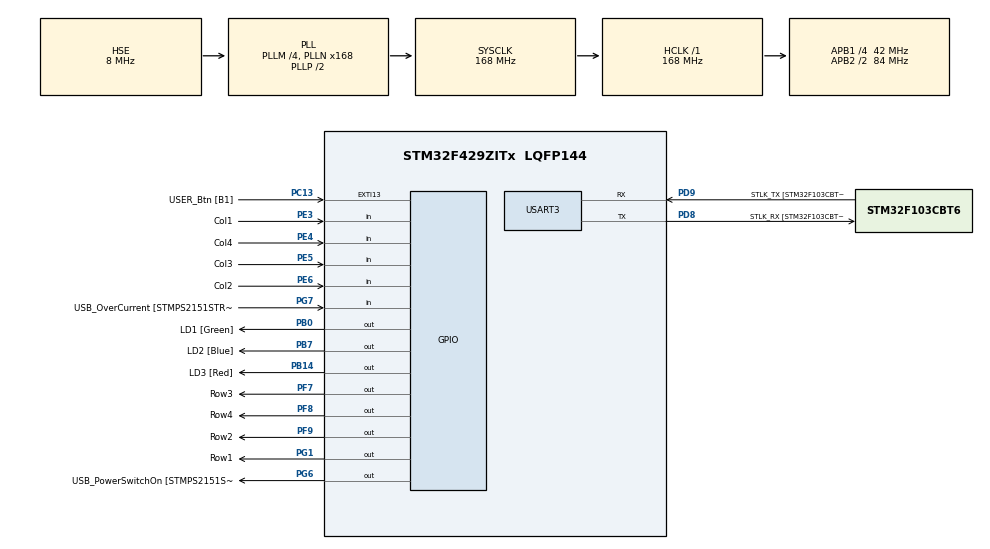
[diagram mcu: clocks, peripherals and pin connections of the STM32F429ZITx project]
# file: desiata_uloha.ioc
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Mcu.Family=STM32F4
Mcu.Name=STM32F429ZITx
Mcu.Package=LQFP144
NVIC.PriorityGroup=NVIC_PRIORITYGROUP_4
NVIC.TIM3_IRQn=true\:0\:0\:false\:false\:true\:true\:true\:true
PA1.GPIO_Label=RMII_REF_CLK [LAN8742A-CZ-TR_REFCLK0]
PA1.Signal=ETH_REF_CLK
PA10.GPIO_Label=USB_ID
PA10.Signal=USB_OTG_FS_ID
PA11.GPIO_Label=USB_DM
PA11.Signal=USB_OTG_FS_DM
PA12.GPIO_Label=USB_DP
PA12.Signal=USB_OTG_FS_DP
PA13.GPIO_Label=TMS
PA13.Mode=Serial_Wire
PA13.Signal=SYS_JTMS-SWDIO
PA14.GPIO_Label=TCK
PA14.Mode=Serial_Wire
PA14.Signal=SYS_JTCK-SWCLK
PA2.GPIO_Label=RMII_MDIO [LAN8742A-CZ-TR_MDIO]
PA2.Signal=ETH_MDIO
PA7.GPIO_Label=RMII_CRS_DV [LAN8742A-CZ-TR_CRS_DV]
PA7.Signal=ETH_CRS_DV
PA8.GPIO_Label=USB_SOF [TP1]
PA8.Signal=USB_OTG_FS_SOF
PA9.GPIO_Label=USB_VBUS
PA9.Signal=USB_OTG_FS_VBUS
PB0.GPIO_Label=LD1 [Green]
PB0.Signal=GPIO_Output
PB13.GPIO_Label=RMII_TXD1 [LAN8742A-CZ-TR_TXD1]
PB13.Signal=ETH_TXD1
PB14.GPIO_Label=LD3 [Red]
PB14.Signal=GPIO_Output
PB7.GPIO_Label=LD2 [Blue]
PB7.Signal=GPIO_Output
PC1.GPIO_Label=RMII_MDC [LAN8742A-CZ-TR_MDC]
PC1.Signal=ETH_MDC
PC13.GPIO_Label=USER_Btn [B1]
PC13.Signal=GPXTI13
PC14/OSC32_IN.Mode=LSE-External-Oscillator
PC14/OSC32_IN.Signal=RCC_OSC32_IN
PC15/OSC32_OUT.Mode=LSE-External-Oscillator
PC15/OSC32_OUT.Signal=RCC_OSC32_OUT
PC4.GPIO_Label=RMII_RXD0 [LAN8742A-CZ-TR_RXD0]
PC4.Signal=ETH_RXD0
PC5.GPIO_Label=RMII_RXD1 [LAN8742A-CZ-TR_RXD1]
PC5.Signal=ETH_RXD1
PD8.GPIO_Label=STLK_RX [STM32F103CBT6_PA3]
PD8.Mode=Asynchronous
PD8.Signal=USART3_TX
PD9.GPIO_Label=STLK_TX [STM32F103CBT6_PA2]
PD9.Mode=Asynchronous
PD9.Signal=USART3_RX
PE3.GPIO_Label=Col1
PE3.GPIO_PuPd=GPIO_PULLUP
PE3.Signal=GPIO_Input
PE4.GPIO_Label=Col4
PE4.GPIO_PuPd=GPIO_PULLUP
PE4.Signal=GPIO_Input
PE5.GPIO_Label=Col3
PE5.GPIO_PuPd=GPIO_PULLUP
PE5.Signal=GPIO_Input
PE6.GPIO_Label=Col2
PE6.GPIO_PuPd=GPIO_PULLUP
PE6.Signal=GPIO_Input
PF7.GPIO_Label=Row3
PF7.GPIO_ModeDefaultOutputPP=GPIO_MODE_OUTPUT_OD
PF7.GPIO_PuPd=GPIO_NOPULL
PF7.Signal=GPIO_Output
PF8.GPIO_Label=Row4
PF8.GPIO_ModeDefaultOutputPP=GPIO_MODE_OUTPUT_OD
PF8.GPIO_PuPd=GPIO_NOPULL
PF8.Signal=GPIO_Output
PF9.GPIO_Label=Row2
PF9.GPIO_ModeDefaultOutputPP=GPIO_MODE_OUTPUT_OD
PF9.GPIO_PuPd=GPIO_NOPULL
PF9.Signal=GPIO_Output
PG1.GPIO_Label=Row1
PG1.GPIO_ModeDefaultOutputPP=GPIO_MODE_OUTPUT_OD
PG1.GPIO_PuPd=GPIO_NOPULL
PG1.Signal=GPIO_Output
PG11.GPIO_Label=RMII_TX_EN [LAN8742A-CZ-TR_TXEN]
PG11.Signal=ETH_TX_EN
PG13.GPIO_Label=RMII_TXD0 [LAN8742A-CZ-TR_TXD0]
PG13.Signal=ETH_TXD0
PG6.GPIO_Label=USB_PowerSwitchOn [STMPS2151STR_EN]
PG6.Signal=GPIO_Output
PG7.GPIO_Label=USB_OverCurrent [STMPS2151STR_FAULT]
PG7.Signal=GPIO_Input
PH0/OSC_IN.GPIO_Label=MCO [STM32F103CBT6_PA8]
PH0/OSC_IN.Mode=HSE-External-Clock-Source
PH0/OSC_IN.Signal=RCC_OSC_IN
PH1/OSC_OUT.Mode=HSE-External-Clock-Source
PH1/OSC_OUT.Signal=RCC_OSC_OUT
ProjectManager.HeapSize=0x200
ProjectManager.StackSize=0x400
ProjectManager.TargetToolchain=STM32CubeIDE
RCC.48MHZClocksFreq_Value=48000000
RCC.AHBFreq_Value=168000000
RCC.APB1CLKDivider=RCC_HCLK_DIV4
RCC.APB1Freq_Value=42000000
RCC.APB1TimFreq_Value=84000000
RCC.APB2CLKDivider=RCC_HCLK_DIV2
RCC.APB2Freq_Value=84000000
RCC.APB2TimCLKDivider=2
RCC.APB2TimFreq_Value=168000000
RCC.CortexFreq_Value=168000000
RCC.HCLKFreq_Value=168000000
RCC.HSE_VALUE=8000000
RCC.HSI_VALUE=16000000
RCC.PLLM=4
RCC.PLLMUL=RCC_PLL_MUL9
RCC.PLLN=168
RCC.PLLQ=7
RCC.PLLSourceVirtual=RCC_PLLSOURCE_HSE
RCC.PRESCALERUSB=RCC_USBCLKSOURCE_PLL_DIV1_5
RCC.SYSCLKFreq_VALUE=168000000
RCC.SYSCLKSource=RCC_SYSCLKSOURCE_PLLCLK
RCC.SYSCLKSourceVirtual=RCC_SYSCLKSOURCE_PLLCLK
RCC.USBFreq_Value=48000000
RCC.VCOOutputFreq_Value=336000000
TIM3.AutoReloadPreload=TIM_AUTORELOAD_PRELOAD_ENABLE
TIM3.Period=99
TIM3.Prescaler=8399
USART3.VirtualMode=VM_ASYNC
VP_TIM3_VS_ClockSourceINT.Mode=Internal
board=NUCLEO-F429ZI

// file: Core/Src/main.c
/* USER CODE BEGIN Header */
/**
  ******************************************************************************
  * @file           : main.c
  * @brief          : Main program body
  ******************************************************************************
  * @attention
  *
  * Copyright (c) 2023 STMicroelectronics.
  * All rights reserved.
  *
  * This software is licensed under terms that can be found in the LICENSE file
  * in the root directory of this software component.
  * If no LICENSE file comes with this software, it is provided AS-IS.
  *
  ******************************************************************************
  */
/* USER CODE END Header */
#include "main.h"

/* USER CODE BEGIN Includes */
#include <stdio.h>
/* USER CODE END Includes */

/* USER CODE BEGIN PD */
#define TIMEOUT 5000
/* USER CODE END PD */

TIM_HandleTypeDef htim3;

UART_HandleTypeDef huart3;

/* USER CODE BEGIN PV */
static int8_t key=-1;
/* USER CODE END PV */

void SystemClock_Config(void);
static void MX_GPIO_Init(void);
static void MX_USART3_UART_Init(void);
static void MX_TIM3_Init(void);

/* USER CODE BEGIN 0 */
int __io_putchar(int ch) {
	ITM_SendChar(ch);
	return 0;
}
/* USER CODE END 0 */

int main(void)
{

  /* MCU Configuration--------------------------------------------------------*/

  /* Reset of all peripherals, Initializes the Flash interface and the Systick. */
  HAL_Init();

  /* Configure the system clock */
  SystemClock_Config();

  /* Initialize all configured peripherals */
  MX_GPIO_Init();
  MX_USART3_UART_Init();
  MX_TIM3_Init();
  /* USER CODE BEGIN 2 */
  HAL_TIM_Base_Start_IT(&htim3);
  printf("Start\r\n");

  int8_t passcode[] = {7, 9, 3, 2, 12};
  uint8_t c_index = 0;
  /* USER CODE END 2 */

  /* Infinite loop */
  /* USER CODE BEGIN WHILE */
  uint32_t timer_start = 0;
  while (1)
  {
    /* USER CODE END WHILE */

    /* USER CODE BEGIN 3 */
	  // check if timer is nout out
		if (((HAL_GetTick() - timer_start) > TIMEOUT) && (c_index != 0)) {
			printf("Timed Out \n");
			c_index = 0;
		}

	  if (key!=-1){
		  printf("Pressed key no %d \n", key);
		  if (key == passcode[c_index]){
			   // if first character was guessed start timer
			  if (c_index == 0)
			  {
				  timer_start = HAL_GetTick();
			  }

			  c_index++;

			  if (c_index>4){
				  printf("Correct \n");
				  HAL_GPIO_WritePin(LD1_GPIO_Port, LD1_Pin, GPIO_PIN_SET);
				  HAL_GPIO_WritePin(LD2_GPIO_Port, LD2_Pin, GPIO_PIN_SET);
				  HAL_GPIO_WritePin(LD3_GPIO_Port, LD3_Pin, GPIO_PIN_SET);
				  c_index = 0;
			  }
		  }else{
			  printf("Wrong \n");
			  HAL_GPIO_WritePin(LD1_GPIO_Port, LD1_Pin, GPIO_PIN_RESET);
			  HAL_GPIO_WritePin(LD2_GPIO_Port, LD2_Pin, GPIO_PIN_RESET);
			  HAL_GPIO_WritePin(LD3_GPIO_Port, LD3_Pin, GPIO_PIN_RESET);
			  c_index = 0;
		  }
		  key = -1;
	  }
	  HAL_Delay(50);
  }
  /* USER CODE END 3 */
}

void SystemClock_Config(void)
{
  RCC_OscInitTypeDef RCC_OscInitStruct = {0};
  RCC_ClkInitTypeDef RCC_ClkInitStruct = {0};

  /** Configure the main internal regulator output voltage
  */
  __HAL_RCC_PWR_CLK_ENABLE();
  __HAL_PWR_VOLTAGESCALING_CONFIG(PWR_REGULATOR_VOLTAGE_SCALE1);

  /** Initializes the RCC Oscillators according to the specified parameters
  * in the RCC_OscInitTypeDef structure.
  */
  RCC_OscInitStruct.OscillatorType = RCC_OSCILLATORTYPE_HSE;
  RCC_OscInitStruct.HSEState = RCC_HSE_BYPASS;
  RCC_OscInitStruct.PLL.PLLState = RCC_PLL_ON;
  RCC_OscInitStruct.PLL.PLLSource = RCC_PLLSOURCE_HSE;
  RCC_OscInitStruct.PLL.PLLM = 4;
  RCC_OscInitStruct.PLL.PLLN = 168;
  RCC_OscInitStruct.PLL.PLLP = RCC_PLLP_DIV2;
  RCC_OscInitStruct.PLL.PLLQ = 7;
  if (HAL_RCC_OscConfig(&RCC_OscInitStruct) != HAL_OK)
  {
    Error_Handler();
  }

  /** Initializes the CPU, AHB and APB buses clocks
  */
  RCC_ClkInitStruct.ClockType = RCC_CLOCKTYPE_HCLK|RCC_CLOCKTYPE_SYSCLK
                              |RCC_CLOCKTYPE_PCLK1|RCC_CLOCKTYPE_PCLK2;
  RCC_ClkInitStruct.SYSCLKSource = RCC_SYSCLKSOURCE_PLLCLK;
  RCC_ClkInitStruct.AHBCLKDivider = RCC_SYSCLK_DIV1;
  RCC_ClkInitStruct.APB1CLKDivider = RCC_HCLK_DIV4;
  RCC_ClkInitStruct.APB2CLKDivider = RCC_HCLK_DIV2;

  if (HAL_RCC_ClockConfig(&RCC_ClkInitStruct, FLASH_LATENCY_5) != HAL_OK)
  {
    Error_Handler();
  }
}

static void MX_TIM3_Init(void)
{

  TIM_ClockConfigTypeDef sClockSourceConfig = {0};
  TIM_MasterConfigTypeDef sMasterConfig = {0};

  htim3.Instance = TIM3;
  htim3.Init.Prescaler = 8399;
  htim3.Init.CounterMode = TIM_COUNTERMODE_UP;
  htim3.Init.Period = 99;
  htim3.Init.ClockDivision = TIM_CLOCKDIVISION_DIV1;
  htim3.Init.AutoReloadPreload = TIM_AUTORELOAD_PRELOAD_ENABLE;
  if (HAL_TIM_Base_Init(&htim3) != HAL_OK)
  {
    Error_Handler();
  }
  sClockSourceConfig.ClockSource = TIM_CLOCKSOURCE_INTERNAL;
  if (HAL_TIM_ConfigClockSource(&htim3, &sClockSourceConfig) != HAL_OK)
  {
    Error_Handler();
  }
  sMasterConfig.MasterOutputTrigger = TIM_TRGO_RESET;
  sMasterConfig.MasterSlaveMode = TIM_MASTERSLAVEMODE_DISABLE;
  if (HAL_TIMEx_MasterConfigSynchronization(&htim3, &sMasterConfig) != HAL_OK)
  {
    Error_Handler();
  }

}

static void MX_USART3_UART_Init(void)
{

  huart3.Instance = USART3;
  huart3.Init.BaudRate = 115200;
  huart3.Init.WordLength = UART_WORDLENGTH_8B;
  huart3.Init.StopBits = UART_STOPBITS_1;
  huart3.Init.Parity = UART_PARITY_NONE;
  huart3.Init.Mode = UART_MODE_TX_RX;
  huart3.Init.HwFlowCtl = UART_HWCONTROL_NONE;
  huart3.Init.OverSampling = UART_OVERSAMPLING_16;
  if (HAL_UART_Init(&huart3) != HAL_OK)
  {
    Error_Handler();
  }

}

static void MX_GPIO_Init(void)
{
  GPIO_InitTypeDef GPIO_InitStruct = {0};

  /* GPIO Ports Clock Enable */
  __HAL_RCC_GPIOE_CLK_ENABLE();
  __HAL_RCC_GPIOC_CLK_ENABLE();
  __HAL_RCC_GPIOF_CLK_ENABLE();
  __HAL_RCC_GPIOH_CLK_ENABLE();
  __HAL_RCC_GPIOA_CLK_ENABLE();
  __HAL_RCC_GPIOB_CLK_ENABLE();
  __HAL_RCC_GPIOG_CLK_ENABLE();
  __HAL_RCC_GPIOD_CLK_ENABLE();

  /*Configure GPIO pin Output Level */
  HAL_GPIO_WritePin(GPIOF, Row3_Pin|Row4_Pin|Row2_Pin, GPIO_PIN_RESET);

  /*Configure GPIO pin Output Level */
  HAL_GPIO_WritePin(GPIOB, LD1_Pin|LD3_Pin|LD2_Pin, GPIO_PIN_RESET);

  /*Configure GPIO pin Output Level */
  HAL_GPIO_WritePin(GPIOG, Row1_Pin|USB_PowerSwitchOn_Pin, GPIO_PIN_RESET);

  /*Configure GPIO pins : Col1_Pin Col4_Pin Col3_Pin Col2_Pin */
  GPIO_InitStruct.Pin = Col1_Pin|Col4_Pin|Col3_Pin|Col2_Pin;
  GPIO_InitStruct.Mode = GPIO_MODE_INPUT;
  GPIO_InitStruct.Pull = GPIO_PULLUP;
  HAL_GPIO_Init(GPIOE, &GPIO_InitStruct);

  /*Configure GPIO pin : USER_Btn_Pin */
  GPIO_InitStruct.Pin = USER_Btn_Pin;
  GPIO_InitStruct.Mode = GPIO_MODE_IT_RISING;
  GPIO_InitStruct.Pull = GPIO_NOPULL;
  HAL_GPIO_Init(USER_Btn_GPIO_Port, &GPIO_InitStruct);

  /*Configure GPIO pins : Row3_Pin Row4_Pin Row2_Pin */
  GPIO_InitStruct.Pin = Row3_Pin|Row4_Pin|Row2_Pin;
  GPIO_InitStruct.Mode = GPIO_MODE_OUTPUT_OD;
  GPIO_InitStruct.Pull = GPIO_NOPULL;
  GPIO_InitStruct.Speed = GPIO_SPEED_FREQ_LOW;
  HAL_GPIO_Init(GPIOF, &GPIO_InitStruct);

  /*Configure GPIO pins : RMII_MDC_Pin RMII_RXD0_Pin RMII_RXD1_Pin */
  GPIO_InitStruct.Pin = RMII_MDC_Pin|RMII_RXD0_Pin|RMII_RXD1_Pin;
  GPIO_InitStruct.Mode = GPIO_MODE_AF_PP;
  GPIO_InitStruct.Pull = GPIO_NOPULL;
  GPIO_InitStruct.Speed = GPIO_SPEED_FREQ_VERY_HIGH;
  GPIO_InitStruct.Alternate = GPIO_AF11_ETH;
  HAL_GPIO_Init(GPIOC, &GPIO_InitStruct);

  /*Configure GPIO pins : RMII_REF_CLK_Pin RMII_MDIO_Pin RMII_CRS_DV_Pin */
  GPIO_InitStruct.Pin = RMII_REF_CLK_Pin|RMII_MDIO_Pin|RMII_CRS_DV_Pin;
  GPIO_InitStruct.Mode = GPIO_MODE_AF_PP;
  GPIO_InitStruct.Pull = GPIO_NOPULL;
  GPIO_InitStruct.Speed = GPIO_SPEED_FREQ_VERY_HIGH;
  GPIO_InitStruct.Alternate = GPIO_AF11_ETH;
  HAL_GPIO_Init(GPIOA, &GPIO_InitStruct);

  /*Configure GPIO pins : LD1_Pin LD3_Pin LD2_Pin */
  GPIO_InitStruct.Pin = LD1_Pin|LD3_Pin|LD2_Pin;
  GPIO_InitStruct.Mode = GPIO_MODE_OUTPUT_PP;
  GPIO_InitStruct.Pull = GPIO_NOPULL;
  GPIO_InitStruct.Speed = GPIO_SPEED_FREQ_LOW;
  HAL_GPIO_Init(GPIOB, &GPIO_InitStruct);

  /*Configure GPIO pin : Row1_Pin */
  GPIO_InitStruct.Pin = Row1_Pin;
  GPIO_InitStruct.Mode = GPIO_MODE_OUTPUT_OD;
  GPIO_InitStruct.Pull = GPIO_NOPULL;
  GPIO_InitStruct.Speed = GPIO_SPEED_FREQ_LOW;
  HAL_GPIO_Init(Row1_GPIO_Port, &GPIO_InitStruct);

  /*Configure GPIO pin : RMII_TXD1_Pin */
  GPIO_InitStruct.Pin = RMII_TXD1_Pin;
  GPIO_InitStruct.Mode = GPIO_MODE_AF_PP;
  GPIO_InitStruct.Pull = GPIO_NOPULL;
  GPIO_InitStruct.Speed = GPIO_SPEED_FREQ_VERY_HIGH;
  GPIO_InitStruct.Alternate = GPIO_AF11_ETH;
  HAL_GPIO_Init(RMII_TXD1_GPIO_Port, &GPIO_InitStruct);

  /*Configure GPIO pin : USB_PowerSwitchOn_Pin */
  GPIO_InitStruct.Pin = USB_PowerSwitchOn_Pin;
  GPIO_InitStruct.Mode = GPIO_MODE_OUTPUT_PP;
  GPIO_InitStruct.Pull = GPIO_NOPULL;
  GPIO_InitStruct.Speed = GPIO_SPEED_FREQ_LOW;
  HAL_GPIO_Init(USB_PowerSwitchOn_GPIO_Port, &GPIO_InitStruct);

  /*Configure GPIO pin : USB_OverCurrent_Pin */
  GPIO_InitStruct.Pin = USB_OverCurrent_Pin;
  GPIO_InitStruct.Mode = GPIO_MODE_INPUT;
  GPIO_InitStruct.Pull = GPIO_NOPULL;
  HAL_GPIO_Init(USB_OverCurrent_GPIO_Port, &GPIO_InitStruct);

  /*Configure GPIO pins : USB_SOF_Pin USB_ID_Pin USB_DM_Pin USB_DP_Pin */
  GPIO_InitStruct.Pin = USB_SOF_Pin|USB_ID_Pin|USB_DM_Pin|USB_DP_Pin;
  GPIO_InitStruct.Mode = GPIO_MODE_AF_PP;
  GPIO_InitStruct.Pull = GPIO_NOPULL;
  GPIO_InitStruct.Speed = GPIO_SPEED_FREQ_VERY_HIGH;
  GPIO_InitStruct.Alternate = GPIO_AF10_OTG_FS;
  HAL_GPIO_Init(GPIOA, &GPIO_InitStruct);

  /*Configure GPIO pin : USB_VBUS_Pin */
  GPIO_InitStruct.Pin = USB_VBUS_Pin;
  GPIO_InitStruct.Mode = GPIO_MODE_INPUT;
  GPIO_InitStruct.Pull = GPIO_NOPULL;
  HAL_GPIO_Init(USB_VBUS_GPIO_Port, &GPIO_InitStruct);

  /*Configure GPIO pins : RMII_TX_EN_Pin RMII_TXD0_Pin */
  GPIO_InitStruct.Pin = RMII_TX_EN_Pin|RMII_TXD0_Pin;
  GPIO_InitStruct.Mode = GPIO_MODE_AF_PP;
  GPIO_InitStruct.Pull = GPIO_NOPULL;
  GPIO_InitStruct.Speed = GPIO_SPEED_FREQ_VERY_HIGH;
  GPIO_InitStruct.Alternate = GPIO_AF11_ETH;
  HAL_GPIO_Init(GPIOG, &GPIO_InitStruct);

}

/* USER CODE BEGIN 4 */
void HAL_TIM_PeriodElapsedCallback(TIM_HandleTypeDef *htim)
{
 static int row = 0;
 static int internal_key = -1;
 static int internal_counter = 0;
 static int counting_state = 0;
 static int internal_pressed = 0;
 static const int keyboard[4][4] = {
					 { 1, 2, 3, 21 },
					 { 4, 5, 6, 22 },
					 { 7, 8, 9, 23 },
					 { 11, 0, 12, 24 },
					 };

	 if (counting_state == 1)
	 {
	 	if (HAL_GPIO_ReadPin(Col1_GPIO_Port, Col1_Pin) == GPIO_PIN_RESET) internal_pressed = 1;
	 	if (HAL_GPIO_ReadPin(Col2_GPIO_Port, Col2_Pin) == GPIO_PIN_RESET) internal_pressed = 1;
	    if (HAL_GPIO_ReadPin(Col3_GPIO_Port, Col3_Pin) == GPIO_PIN_RESET) internal_pressed = 1;
	 	if (HAL_GPIO_ReadPin(Col4_GPIO_Port, Col4_Pin) == GPIO_PIN_RESET) internal_pressed = 1;
	 }
 	 if (internal_key == -1 && counting_state == 0){
 		if (HAL_GPIO_ReadPin(Col1_GPIO_Port, Col1_Pin) == GPIO_PIN_RESET) internal_key = keyboard[row][0];
 		if (HAL_GPIO_ReadPin(Col2_GPIO_Port, Col2_Pin) == GPIO_PIN_RESET) internal_key = keyboard[row][1];
 		if (HAL_GPIO_ReadPin(Col3_GPIO_Port, Col3_Pin) == GPIO_PIN_RESET) internal_key = keyboard[row][2];
 		if (HAL_GPIO_ReadPin(Col4_GPIO_Port, Col4_Pin) == GPIO_PIN_RESET) internal_key = keyboard[row][3];

 		//start counting
 		counting_state = 1;
 		internal_pressed = 0;
 	 }

	HAL_GPIO_WritePin(Row1_GPIO_Port, Row1_Pin, GPIO_PIN_SET);
	HAL_GPIO_WritePin(Row2_GPIO_Port, Row2_Pin, GPIO_PIN_SET);
	HAL_GPIO_WritePin(Row3_GPIO_Port, Row3_Pin, GPIO_PIN_SET);
	HAL_GPIO_WritePin(Row4_GPIO_Port, Row4_Pin, GPIO_PIN_SET);
	switch (row) {
		case 0:
			row = 1;
			HAL_GPIO_WritePin(Row2_GPIO_Port, Row2_Pin, GPIO_PIN_RESET);
			break;
		case 1:
			row = 2;
			HAL_GPIO_WritePin(Row3_GPIO_Port, Row3_Pin, GPIO_PIN_RESET);
			break;
		case 2:
			row = 3;
			HAL_GPIO_WritePin(Row4_GPIO_Port, Row4_Pin, GPIO_PIN_RESET);
			break;
		case 3:
			row = 0;
			HAL_GPIO_WritePin(Row1_GPIO_Port, Row1_Pin, GPIO_PIN_RESET);
			break;
	}
	if (counting_state == 1)
	{
			internal_counter++;
			if (internal_counter > 4)
			{
				if (key == -1)
				{
					key = internal_key;
					internal_key = -1;
					counting_state = 0;
				}
				internal_counter = 0;
			}
	}

}

/* USER CODE END 4 */

void Error_Handler(void)
{
  __disable_irq();
  while (1)
  {
  }
}
